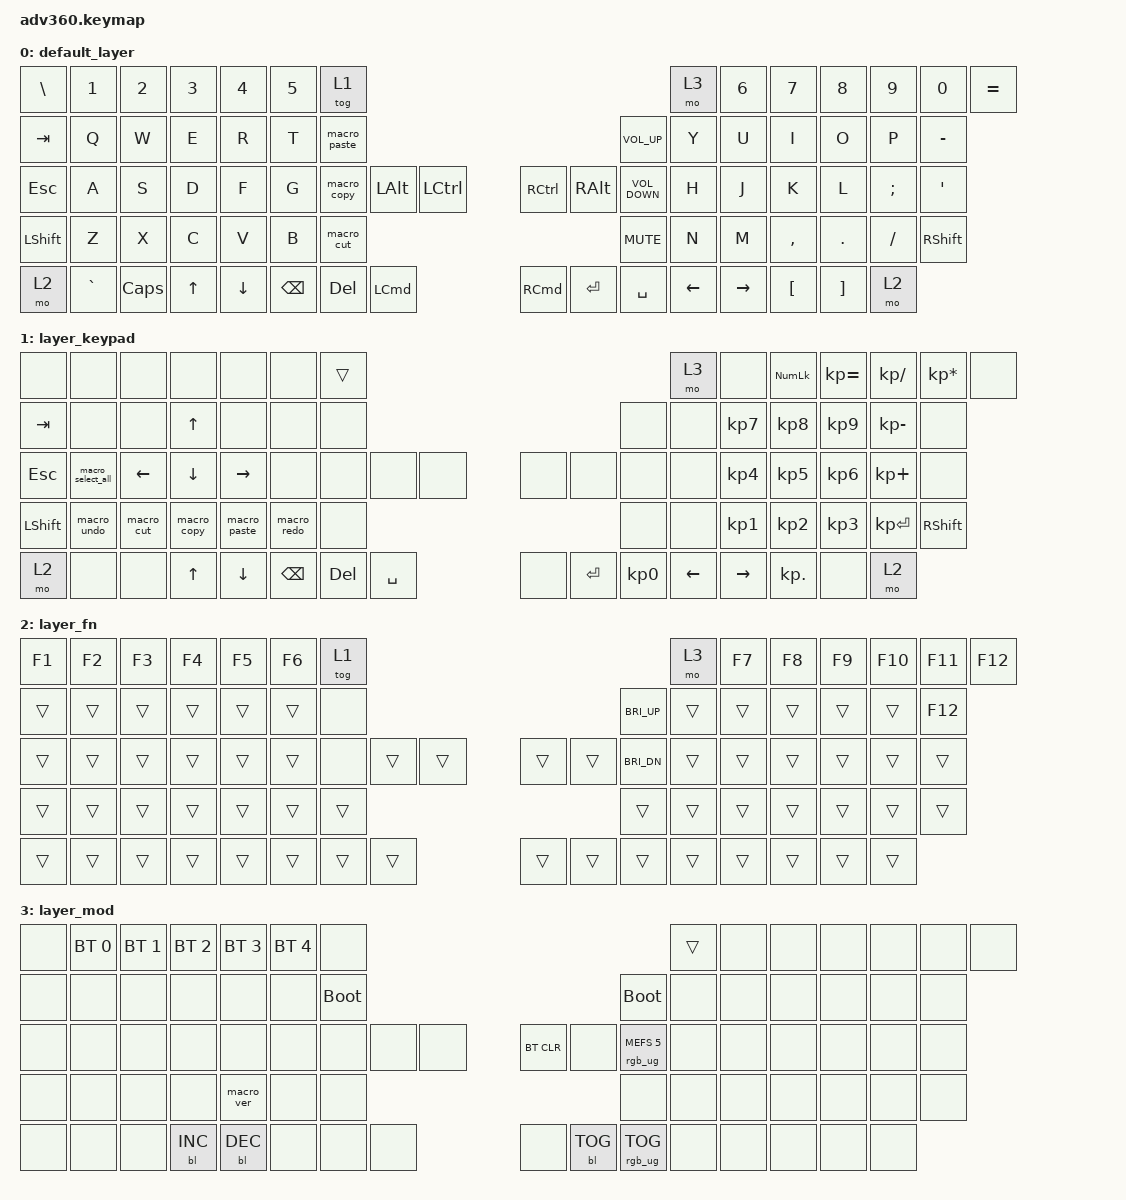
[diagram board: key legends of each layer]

/*
 * Copyright (c) 2020 The ZMK Contributors
 *
 * SPDX-License-Identifier: MIT
 */


/* THIS FILE WAS GENERATED!
 *
 * This file was generated automatically. You may or may not want to
 * edit it directly.
 */

#include <behaviors.dtsi>
#include <dt-bindings/zmk/keys.h>
#include <dt-bindings/zmk/bt.h>
#include <dt-bindings/zmk/rgb.h>
#include <dt-bindings/zmk/backlight.h>

/ {
  behaviors {
    #include "macros.dtsi"
    #include "version.dtsi"

    hm: homerow_mods {
        compatible = "zmk,behavior-hold-tap";
        label = "HOMEROW_MODS";
        #binding-cells = <2>;
        tapping-term-ms = <200>;
        quick_tap_ms = <175>;
        flavor = "tap-preferred";
        bindings = <&kp>, <&kp>;
    };
  };

    keymap {
        compatible = "zmk,keymap";


        default_layer {
            bindings = <

    &kp BSLH    &kp N1      &kp N2      &kp N3      &kp N4      &kp N5      &tog 1                                                                                  &mo 3   &kp N6         &kp N7      &kp N8     &kp N9      &kp N0    &kp EQUAL
    &kp TAB     &kp Q       &kp W       &kp E       &kp R       &kp T       &macro_paste                                                                     &kp C_VOL_UP   &kp Y           &kp U       &kp I      &kp O       &kp P    &kp MINUS
    &kp ESC     &kp A       &kp S       &kp D       &kp F       &kp G       &macro_copy     &kp LALT    &kp LEFT_CONTROL         &kp RCTRL   &kp RALT   &kp C_VOLUME_DOWN   &kp H           &kp J       &kp K      &kp L    &kp SEMI      &kp SQT
    &kp LSHFT   &kp Z       &kp X       &kp C       &kp V       &kp B                                   &macro_cut              &kp C_MUTE                                  &kp N           &kp M   &kp COMMA    &kp DOT    &kp FSLH    &kp RSHFT
    &mo 2       &kp GRAVE   &kp CAPS    &kp UP      &kp DOWN                &kp BSPC        &kp DEL     &kp LCMD                  &kp RCMD  &kp ENTER           &kp SPACE   &kp LEFT    &kp RIGHT    &kp LBKT   &kp RBKT       &mo 2
            >;
        };

        layer_keypad {
            bindings = <
    &none       &none               &none       &none       &none           &none       &trans                                                   &mo 3   &none   &kp KP_NUM  &kp KP_EQUAL    &kp KP_DIVIDE   &kp KP_MULTIPLY     &none
    &kp TAB     &none               &none       &kp UP      &none           &none       &none                                                   &none   &none    &kp KP_N7     &kp KP_N8        &kp KP_N9      &kp KP_MINUS     &none
    &kp ESC     &macro_select_all   &kp LEFT    &kp DOWN    &kp RIGHT       &none       &none       &none   &none       &none      &none        &none   &none    &kp KP_N4     &kp KP_N5        &kp KP_N6       &kp KP_PLUS     &none
    &kp LSHFT   &macro_undo         &macro_cut  &macro_copy &macro_paste    &macro_redo                     &none       &none                           &none    &kp KP_N1     &kp KP_N2        &kp KP_N3      &kp KP_ENTER &kp RSHFT
    &mo 2       &none               &none       &kp UP      &kp DOWN                    &kp BSPC    &kp DEL &kp SPACE   &none  &kp ENTER    &kp KP_N0             &kp LEFT     &kp RIGHT       &kp KP_DOT             &none     &mo 2
            >;
        };

        layer_fn {
            bindings = <
 &kp F1  &kp F2  &kp F3  &kp F4  &kp F5  &kp F6            &tog 1                                                         &mo 3  &kp F7  &kp F8  &kp F9  &kp F10  &kp F11  &kp F12
 &trans  &trans  &trans  &trans  &trans  &trans             &none                                                  &kp C_BRI_UP  &trans  &trans  &trans   &trans   &trans  &kp F12
 &trans  &trans  &trans  &trans  &trans  &trans             &none  &trans  &trans                  &trans  &trans  &kp C_BRI_DN  &trans  &trans  &trans   &trans   &trans   &trans
 &trans  &trans  &trans  &trans  &trans  &trans                            &trans                  &trans                        &trans  &trans  &trans   &trans   &trans   &trans
 &trans  &trans  &trans  &trans  &trans                    &trans  &trans  &trans                  &trans  &trans        &trans          &trans  &trans   &trans   &trans   &trans
            >;
        };

        layer_mod {
            bindings = <
  &none  &bt BT_SEL 0  &bt BT_SEL 1  &bt BT_SEL 2  &bt BT_SEL 3  &bt BT_SEL 4                  &none                                                                          &trans   &none   &none   &none   &none   &none   &none
  &none         &none         &none         &none         &none         &none            &bootloader                                                                     &bootloader   &none   &none   &none   &none   &none   &none
  &none         &none         &none         &none         &none         &none                  &none   &none   &none                  &bt BT_CLR       &none  &rgb_ug RGB_MEFS_CMD 5   &none   &none   &none   &none   &none   &none
  &none         &none         &none         &none    &macro_ver         &none                                  &none                       &none                                       &none   &none   &none   &none   &none   &none
  &none         &none         &none    &bl BL_INC    &bl BL_DEC                                &none   &none   &none                       &none  &bl BL_TOG         &rgb_ug RGB_TOG           &none   &none   &none   &none   &none
            >;
        };

    };
};
